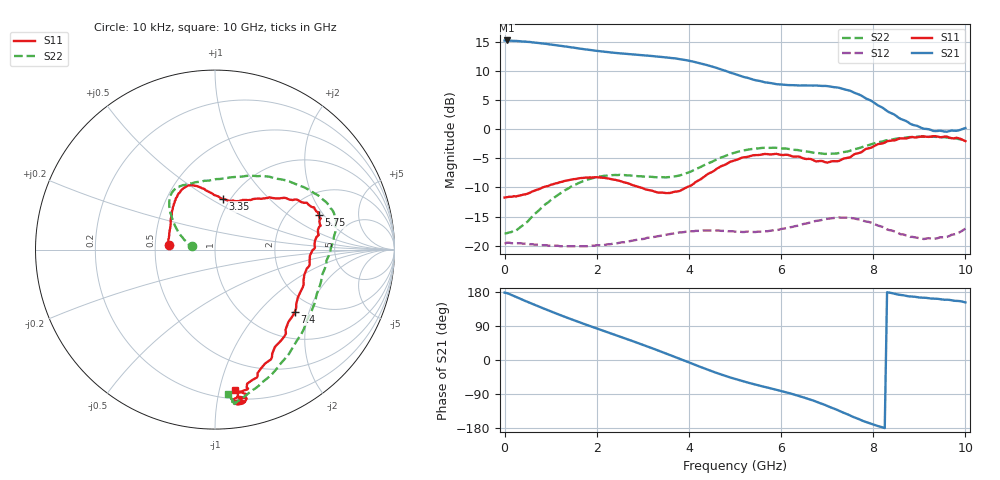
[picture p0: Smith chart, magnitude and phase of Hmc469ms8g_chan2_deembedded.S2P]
!Hittite Microwave Corporation
!20 Alpha Rd
!Chelmsford, MA 01824
!Tel: 978-250-3343
!Fax: 978-250-3373
!Device: HMC469MS8G, DC - 5 GHz SiGe HBT Dual Channel Gain Block in 8 lead MSOP SMT package
!Misc: Data taken on a part mounted evaluation PCB 104421-2,Bias: +8VDC	thru Bias Tee on the output; Channel 2
# MHZ S MA R 50
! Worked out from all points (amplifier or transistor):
!   201 points, 10 kHz to 10 GHz, reference 50 ohm
!   highest |S21| = 15.3 dB at 50.01 MHz (marker M1)
!   |S21| within 3 dB of that: start of sweep to 3.596 GHz
!   unconditionally stable (mu >= 1): start of sweep to 5.806 GHz
!   at 1.65 GHz: K = 1.15, MAG = 14.7 dB, |S12| = -20.1 dB
!   at 5 GHz: K = 1.05, MAG = 12.2 dB, |S12| = -17.6 dB
!   at 10 GHz: K = 0.86, MSG = 8.6 dB, |S12| = -17.1 dB
!   S11 on the Smith chart (normalised r, x): 10 kHz: 0.59, +0.03; 3.35 GHz: 0.92, +0.57; 5.75 GHz: 2.90, +1.79; 7.4 GHz: 1.60, -1.62; 10 GHz: 0.27, -1.12
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0.01  0.259 174.4  5.789 177.7  0.104 -1.6  0.127 171.2
50.01  0.261 175.7  5.794 176.5  0.106 -1.6  0.128 176.6
450.01  0.276 155.1  5.667 155.8  0.104 -9.8  0.156 165.8
900.009  0.323 137.7  5.415 133.3  0.101 -17.6  0.229 154.0
1300.009  0.36 127.3  5.161 114.2  0.099 -23.3  0.298 143.7
1700.008  0.382 118.7  4.894 96.2  0.099 -28.2  0.358 135.5
2000.008  0.387 112.9  4.723 83.2  0.101 -31.7  0.388 130.1
2450.008  0.363 104.8  4.517 64.0  0.105 -37.5  0.404 121.9
2900.007  0.32 94.8  4.364 44.4  0.113 -44.6  0.395 112.7
3350.007  0.285 81.2  4.203 24.2  0.121 -53.5  0.386 100.7
3700.006  0.291 69.9  4.063 7.9  0.128 -61.6  0.394 86.4
4050.006  0.329 56.9  3.848 -8.8  0.133 -70.9  0.434 69.6
4550.005  0.441 40.3  3.415 -31.9  0.135 -84.2  0.538 46.6
5000.005  0.541 30.4  2.982 -50.0  0.132 -94.2  0.63 30.5
5750.004  0.609 18.6  2.501 -74.2  0.134 -106.5  0.692 15.5
6700.003  0.543 -0.4  2.374 -107.0  0.161 -126.4  0.629 -4.4
7000.003  0.517 -15.8  2.35 -121.1  0.17 -136.9  0.615 -14.5
7400.003  0.564 -37.8  2.189 -141.2  0.174 -152.7  0.64 -34.3
7750.002  0.637 -58.4  1.938 -159.4  0.167 -167.3  0.7 -52.3
8350.002  0.795 -76.6  1.397 177.8  0.136 175.5  0.81 -74.9
9100.001  0.87 -81.0  1.01 164.4  0.114 168.8  0.864 -83.0
10000  0.791 -81.7  1.024 152.0  0.14 163.0  0.806 -84.9
